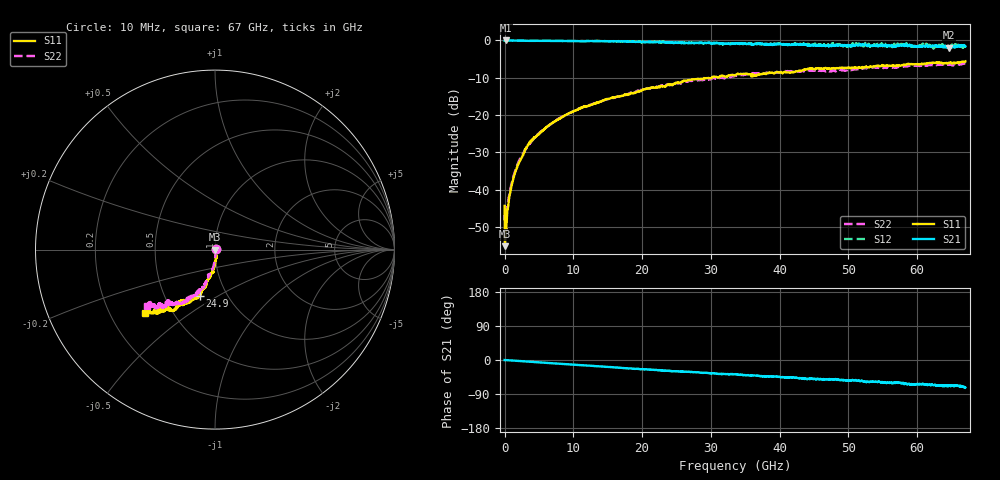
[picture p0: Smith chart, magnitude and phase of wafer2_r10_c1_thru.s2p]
!Keysight Technologies,N5227A,US51270248,A.10.65.08
!Date: Tuesday, June 11, 2024 06:02:13
!Correction: S11(Full 2 Port(1,4))
!S41(Full 2 Port(1,4))
!S14(Full 2 Port(1,4))
!S44(Full 2 Port(1,4))
!S2P File: Measurements: S11, S41, S14, S44:
# Hz S  dB  R 50
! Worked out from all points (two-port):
!   3201 points, 10 MHz to 67 GHz, reference 50 ohm
!   highest |S21| = -0.01 dB at 240.3 MHz (marker M1); lowest = -2.0 dB at 64.57 GHz (marker M2)
!   |S21| within 3 dB of the highest: start of sweep to end of sweep
!   lowest |S11| = -55.1 dB at 51.87 MHz (marker M3), VSWR 1.00, Z = 50.2 - j0.0793 ohm
!   |S11| at or under -10 dB: start of sweep to 30.12 GHz
!   |S22| runs from -48.2 to -6.1 dB; largest |S21 - S12| = 0.086
!   S11 on the Smith chart (normalised r, x): 10 MHz: 1.01, +0.00; 24.9 GHz: 0.74, -0.41; 67 GHz: 0.35, -0.34
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1e7  -44.29 10.7  -0.05 -0.1  -0.03 -0.0  -48.25 10.1
5.186875e7  -55.08 -26.7  -0.01 -0.1  -0.03 -0.1  -47.24 -13.6
2.402781e8  -50.99 -69.0  -0.01 -0.3  -0.03 -0.3  -46.33 -34.9
3.868188e8  -45.53 -52.7  -0.03 -0.5  -0.03 -0.5  -44.66 -49.5
8.683094e8  -40.23 -76.6  -0.02 -1.1  -0.04 -1.1  -39.56 -70.3
1.370734e9  -36.41 -80.2  -0.03 -1.8  -0.04 -1.7  -35.82 -76.6
2.187175e9  -32.42 -86.7  -0.03 -2.8  -0.05 -2.8  -31.88 -82.2
3.380434e9  -28.02 -78.8  -0.11 -4.2  -0.06 -4.2  -28.36 -87.3
7.085819e9  -21.96 -90.4  -0.14 -8.7  -0.10 -8.6  -21.91 -94.2
1.118896e10  -18.05 -95.0  -0.22 -13.6  -0.16 -13.5  -17.94 -99.8
2.234698e10  -12.52 -107.9  -0.46 -26.7  -0.42 -26.4  -12.46 -110.1
2.490097e10  -11.32 -108.4  -0.64 -29.9  -0.62 -29.3  -11.47 -112.2
3.3505e10  -9.26 -119.7  -0.86 -37.2  -0.93 -37.6  -9.51 -119.6
4.468396e10  -7.51 -126.5  -1.21 -49.6  -0.86 -49.2  -8.00 -130.9
5.584198e10  -6.73 -133.5  -1.36 -59.3  -1.48 -60.0  -7.18 -135.8
5.82285e10  -6.53 -132.9  -1.32 -62.1  -1.32 -61.6  -6.91 -135.5
5.975671e10  -6.38 -134.4  -1.55 -64.5  -1.64 -64.4  -6.72 -137.1
6.094997e10  -6.25 -134.0  -1.37 -64.3  -1.23 -66.2  -6.53 -137.0
6.208042e10  -6.04 -135.1  -1.73 -65.2  -1.42 -68.2  -6.60 -138.2
6.323181e10  -5.95 -137.0  -1.52 -68.2  -1.35 -66.2  -6.54 -138.9
6.457161e10  -6.01 -137.2  -1.95 -68.1  -1.79 -68.9  -6.47 -139.5
6.7e10  -5.60 -137.7  -1.59 -72.6  -1.88 -73.7  -6.17 -140.1
